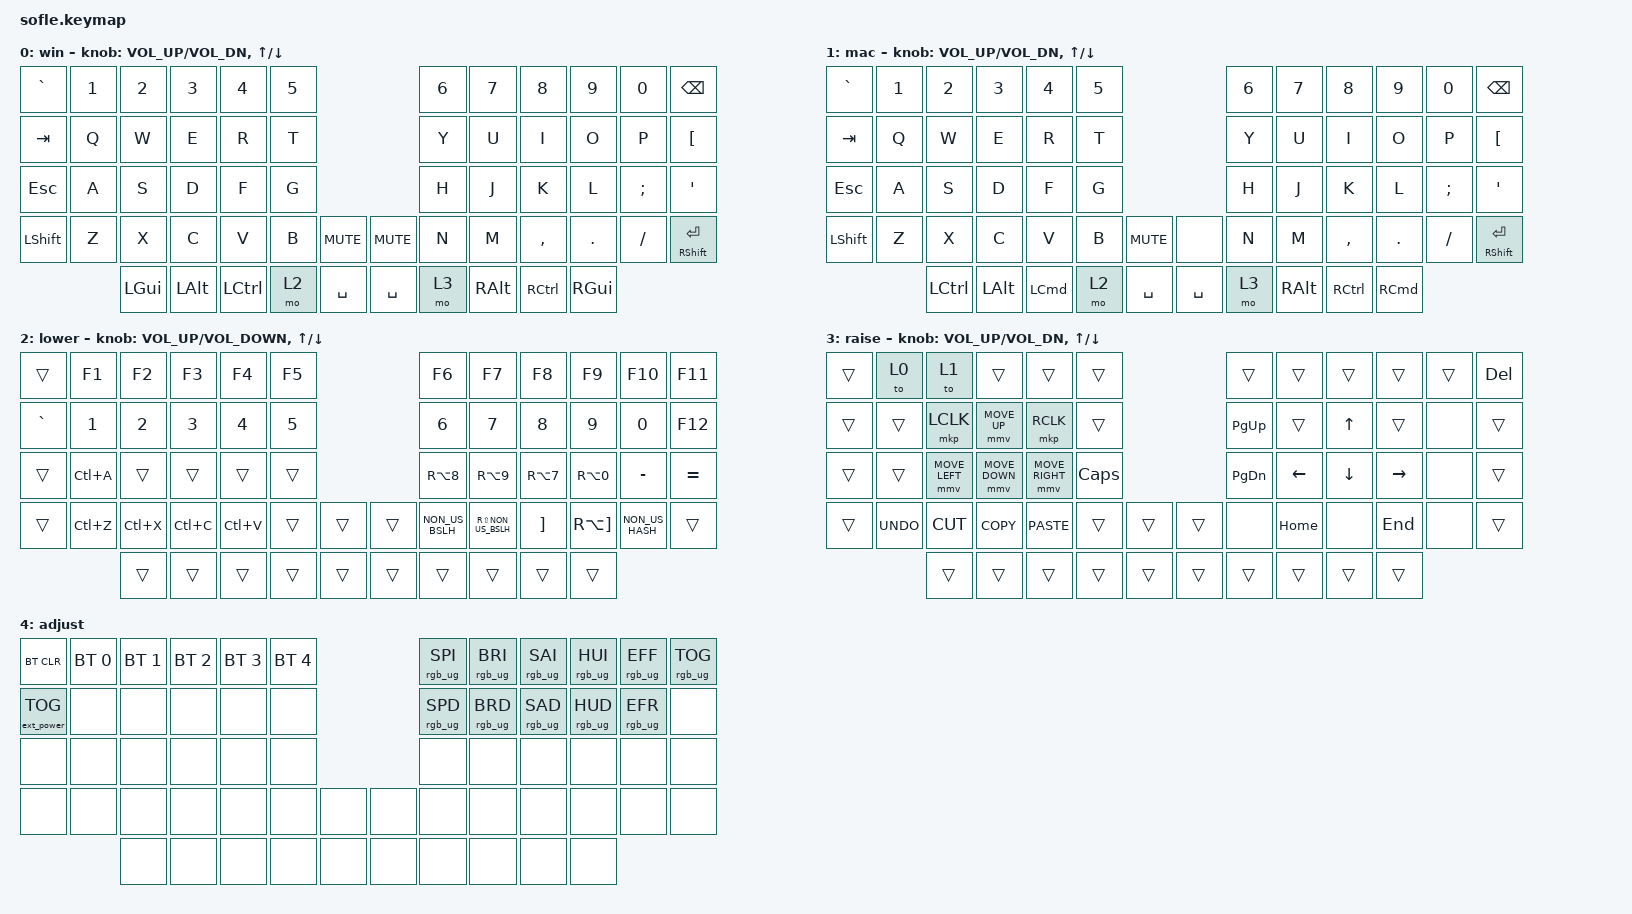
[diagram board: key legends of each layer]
#include <behaviors.dtsi>
#include <dt-bindings/zmk/bt.h>
#include <dt-bindings/zmk/ext_power.h>
#include <dt-bindings/zmk/keys.h>
#include <dt-bindings/zmk/pointing.h>
#include <dt-bindings/zmk/rgb.h>

#define BASE 0
#define MAC 1
#define LOWER 2
#define RAISE 3
#define ADJUST 4

/ {
    // Activate ADJUST layer by pressing raise and lower

    conditional_layers {
        compatible = "zmk,conditional-layers";

        adjust_layer {
            if-layers = <LOWER RAISE>;
            then-layer = <ADJUST>;
        };
    };

    combos {
        Escape {
            bindings = <&kp ESC>;
            key-positions = <0 1>;
        };

        Escape2 {
            bindings = <&kp ESC>;
            key-positions = <12 23>;
        };

        compatible = "zmk,combos";

        OpenParenthesis {
            bindings = <&kp LS(NUMBER_8)>;
            key-positions = <18 19>;
        };

        CloseParenthesis {
            bindings = <&kp LS(NUMBER_9)>;
            key-positions = <19 20>;
        };

        OpenBrace {
            bindings = <&kp RA(NUMBER_7)>;
            key-positions = <30 31>;
        };

        CloseBrace {
            bindings = <&kp RA(NUMBER_0)>;
            key-positions = <31 32>;
        };

        OpenBraket {
            bindings = <&kp RA(NUMBER_8)>;
            key-positions = <44 45>;
        };

        CloseBraket {
            bindings = <&kp RA(NUMBER_9)>;
            key-positions = <45 46>;
        };

        LessThan {
            bindings = <&kp NON_US_BSLH>;
            key-positions = <36 37>;
        };

        GreaterThan {
            bindings = <&kp RS(NON_US_BSLH)>;
            key-positions = <37 38>;
        };

        Backspace {
            bindings = <&kp BACKSPACE>;
            key-positions = <22 23>;
        };

    };

    keymap {
        compatible = "zmk,keymap";

        win_layer {
            display-name = "win";

            // ------------------------------------------------------------------------------------------------------------
            // |   `   |  1  |  2  |  3   |  4   |  5   |                   |  6   |  7    |  8    |  9   |   0   |       |
            // |  ESC  |  Q  |  W  |  E   |  R   |  T   |                   |  Y   |  U    |  I    |  O   |   P   | BKSPC |
            // |  TAB  |  A  |  S  |  D   |  F   |  G   |                   |  H   |  J    |  K    |  L   |   ;   |   '   |
            // | SHIFT |  Z  |  X  |  C   |  V   |  B   |  MUTE  |  |       |  N   |  M    |  ,    |  .   |   /   | SHIFT |
            //               | GUI | ALT  | CTRL | LOWER|  ENTER |  | SPACE | RAISE| CTRL  | ALT   | GUI  |

            bindings = <
&kp GRAVE  &kp N1  &kp N2        &kp N3        &kp N4     &kp N5                            &kp N6  &kp N7         &kp N8     &kp N9    &kp N0    &kp BACKSPACE
&kp TAB    &kp Q   &kp W         &kp E         &kp R      &kp T                             &kp Y   &kp U          &kp I      &kp O     &kp P     &kp LEFT_BRACKET
&kp ESC    &kp A   &kp S         &kp D         &kp F      &kp G                             &kp H   &kp J          &kp K      &kp L     &kp SEMI  &kp SQT
&kp LSHFT  &kp Z   &kp X         &kp C         &kp V      &kp B   &kp C_MUTE    &kp K_MUTE  &kp N   &kp M          &kp COMMA  &kp DOT   &kp FSLH  &mt RSHIFT ENTER
                   &kp LEFT_GUI  &kp LEFT_ALT  &kp LCTRL  &mo 2   &kp SPACE     &kp SPACE   &mo 3   &kp RIGHT_ALT  &kp RCTRL  &kp RGUI
            >;

            sensor-bindings =
                <&inc_dec_kp C_VOLUME_UP C_VOL_DN>,
                <&inc_dec_kp UP_ARROW DOWN_ARROW>;
        };

        mac_layer {
            display-name = "mac";
            bindings = <
&kp GRAVE  &kp N1  &kp N2     &kp N3    &kp N4            &kp N5                           &kp N6  &kp N7         &kp N8     &kp N9             &kp N0    &kp BACKSPACE
&kp TAB    &kp Q   &kp W      &kp E     &kp R             &kp T                            &kp Y   &kp U          &kp I      &kp O              &kp P     &kp LEFT_BRACKET
&kp ESC    &kp A   &kp S      &kp D     &kp F             &kp G                            &kp H   &kp J          &kp K      &kp L              &kp SEMI  &kp SQT
&kp LSHFT  &kp Z   &kp X      &kp C     &kp V             &kp B   &kp K_MUTE    &none      &kp N   &kp M          &kp COMMA  &kp DOT            &kp FSLH  &mt RSHIFT ENTER
                   &kp LCTRL  &kp LALT  &kp LEFT_COMMAND  &mo 2   &kp SPACE     &kp SPACE  &mo 3   &kp RIGHT_ALT  &kp RCTRL  &kp RIGHT_COMMAND
            >;

            sensor-bindings =
                <&inc_dec_kp K_VOL_UP K_VOL_DN>,
                <&inc_dec_kp UP_ARROW DOWN_ARROW>;
        };

        lower_layer {
            display-name = "lower";

            // TODO: Some binds are waiting for shifted keycode support.
            // ------------------------------------------------------------------------------------------------------------
            // |       |  F1  |  F2  |  F3  |  F4  |  F5  |                   |  F6  |  F7   |  F8   |  F9  |  F10  |  F11  |
            // |   `   |  1   |  2   |  3   |  4   |  5   |                   |  6   |  7    |  8    |  9   |   0   |  F12  |
            // |       |LC(A) |      |      |      |      |                   |  ^   |  &    |  *    |  (   |   )   |   |   |
            // |       |LC(Z) |LC(X) |LC(C) |LC(V) |      |        |  |       |  [   |  ]    |  ;    |  :   |   \   |       |
            //                |      |      |      |      |        |  |       |      |       |       |      |

            bindings = <
&trans     &kp F1     &kp F2     &kp F3     &kp F4     &kp F5                    &kp F6           &kp F7               &kp F8             &kp F9                 &kp F10          &kp F11
&kp GRAVE  &kp N1     &kp N2     &kp N3     &kp N4     &kp N5                    &kp N6           &kp N7               &kp N8             &kp N9                 &kp N0           &kp F12
&trans     &kp LC(A)  &trans     &trans     &trans     &trans                    &kp RA(N8)       &kp RA(N9)           &kp RA(N7)         &kp RA(N0)             &kp MINUS        &kp EQUAL
&trans     &kp LC(Z)  &kp LC(X)  &kp LC(C)  &kp LC(V)  &trans  &trans    &trans  &kp NON_US_BSLH  &kp RS(NON_US_BSLH)  &kp RIGHT_BRACKET  &kp RA(RIGHT_BRACKET)  &kp NON_US_HASH  &trans
                      &trans     &trans     &trans     &trans  &trans    &trans  &trans           &trans               &trans             &trans
            >;

            sensor-bindings =
                <&inc_dec_kp C_VOLUME_UP C_VOLUME_DOWN>,
                <&inc_dec_kp UP_ARROW DOWN_ARROW>;
        };

        raise_layer {
            display-name = "raise";

            // ------------------------------------------------------------------------------------------------------------
            // |       | TO 0 | TO 1 |      |       |      |                |      |      |       |      |       |       |
            // |       | LCLK |   ^  | RCLK |       |      |                | PGUP |      |   ^   |      |       |       |
            // |       |  <-  |   v  |  ->  |       | CAPS |                | PGDN |   <- |   v   |  ->  |  DEL  | BKSPC |
            // |       | UNDO | CUT  | COPY | PASTE |      |      |  |      |      |      | HOME  |      |  END  |       |
            //                |      |      |       |      |      |  |      |      |      |       |      |

            bindings = <
&trans  &to 0       &to 1           &trans          &trans           &trans                      &trans     &trans    &trans    &trans     &trans  &kp DELETE
&trans  &trans      &mkp LCLK       &mmv MOVE_UP    &mkp RCLK        &trans                      &kp PG_UP  &trans    &kp UP    &trans     &none   &trans
&trans  &trans      &mmv MOVE_LEFT  &mmv MOVE_DOWN  &mmv MOVE_RIGHT  &kp CLCK                    &kp PG_DN  &kp LEFT  &kp DOWN  &kp RIGHT  &none   &trans
&trans  &kp K_UNDO  &kp K_CUT       &kp K_COPY      &kp K_PASTE      &trans    &trans    &trans  &none      &kp HOME  &none     &kp END    &none   &trans
                    &trans          &trans          &trans           &trans    &trans    &trans  &trans     &trans    &trans    &trans
            >;

            sensor-bindings =
                <&inc_dec_kp C_VOL_UP C_VOL_DN>,
                <&inc_dec_kp UP_ARROW DOWN_ARROW>;
        };

        adjust_layer {
            // ----------------------------------------------------------------------------------------------------------------------------
            // | BTCLR  |  BT1    |  BT2    |   BT3   |   BT4   |   BT5   |                  | RGB_SPI | RGB_BRI | RGB_SAI | RGB_HUI | RGB_EFF | RGB_TOG |
            // | EXTPWR |         |         |         |         |         |                  | RGB_SPD | RGB_BRD | RGB_SAD | RGB_HUD | RGB_EFR |       |
            // |        |         |         |         |         |         |                  |      |      |       |      |       |       |
            // |        |         |         |         |         |         |         | |      |      |      |       |      |       |       |
            //                    |         |         |         |         |         | |      |      |      |       |      |

            display-name = "adjust";
            bindings = <
&bt BT_CLR         &bt BT_SEL 0  &bt BT_SEL 1  &bt BT_SEL 2  &bt BT_SEL 3  &bt BT_SEL 4                  &rgb_ug RGB_SPI  &rgb_ug RGB_BRI  &rgb_ug RGB_SAI  &rgb_ug RGB_HUI  &rgb_ug RGB_EFF  &rgb_ug RGB_TOG
&ext_power EP_TOG  &none         &none         &none         &none         &none                         &rgb_ug RGB_SPD  &rgb_ug RGB_BRD  &rgb_ug RGB_SAD  &rgb_ug RGB_HUD  &rgb_ug RGB_EFR  &none
&none              &none         &none         &none         &none         &none                         &none            &none            &none            &none            &none            &none
&none              &none         &none         &none         &none         &none         &none    &none  &none            &none            &none            &none            &none            &none
                                 &none         &none         &none         &none         &none    &none  &none            &none            &none            &none
            >;
        };
    };
};
